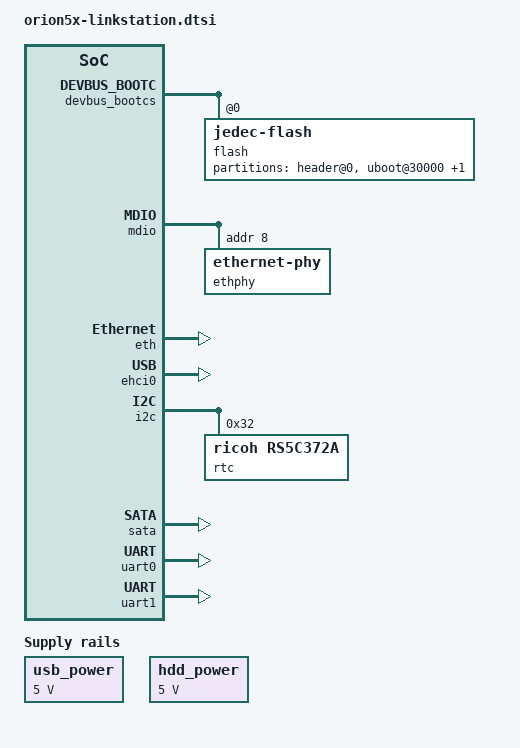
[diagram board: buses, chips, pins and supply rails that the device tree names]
FASTVC-BENCH-CORPUS:linux-main-100k-v1-e0bd41dc-8e12-4f1b-978d-a3645ae59da0
/*
 * Device Tree common file for orion5x based Buffalo Linkstation
 *
 * Copyright (C) 2015, 2016
 * Roger Shimizu <rogershimizu@gmail.com>
 *
 * This file is dual-licensed: you can use it either under the terms
 * of the GPL or the X11 license, at your option. Note that this dual
 * licensing only applies to this file, and not this project as a
 * whole.
 *
 *  a) This file is free software; you can redistribute it and/or
 *     modify it under the terms of the GNU General Public License as
 *     published by the Free Software Foundation; either version 2 of the
 *     License, or (at your option) any later version.
 *
 *     This file is distributed in the hope that it will be useful,
 *     but WITHOUT ANY WARRANTY; without even the implied warranty of
 *     MERCHANTABILITY or FITNESS FOR A PARTICULAR PURPOSE.  See the
 *     GNU General Public License for more details.
 *
 * Or, alternatively,
 *
 *  b) Permission is hereby granted, free of charge, to any person
 *     obtaining a copy of this software and associated documentation
 *     files (the "Software"), to deal in the Software without
 *     restriction, including without limitation the rights to use,
 *     copy, modify, merge, publish, distribute, sublicense, and/or
 *     sell copies of the Software, and to permit persons to whom the
 *     Software is furnished to do so, subject to the following
 *     conditions:
 *
 *     The above copyright notice and this permission notice shall be
 *     included in all copies or substantial portions of the Software.
 *
 *     THE SOFTWARE IS PROVIDED "AS IS", WITHOUT WARRANTY OF ANY KIND,
 *     EXPRESS OR IMPLIED, INCLUDING BUT NOT LIMITED TO THE WARRANTIES
 *     OF MERCHANTABILITY, FITNESS FOR A PARTICULAR PURPOSE AND
 *     NONINFRINGEMENT. IN NO EVENT SHALL THE AUTHORS OR COPYRIGHT
 *     HOLDERS BE LIABLE FOR ANY CLAIM, DAMAGES OR OTHER LIABILITY,
 *     WHETHER IN AN ACTION OF CONTRACT, TORT OR OTHERWISE, ARISING
 *     FROM, OUT OF OR IN CONNECTION WITH THE SOFTWARE OR THE USE OR
 *     OTHER DEALINGS IN THE SOFTWARE.
 */

#include "orion5x-mv88f5182.dtsi"

/ {
	chosen {
		bootargs = "console=ttyS0,115200n8 earlyprintk";
		stdout-path = &uart0;
	};

	soc {
		ranges = <MBUS_ID(0xf0, 0x01) 0 0xf1000000 0x100000>,
				 <MBUS_ID(0x09, 0x00) 0 0xf2200000 0x800>,
				 <MBUS_ID(0x01, 0x0f) 0 0xf4000000 0x40000>;
	};

	restart_poweroff {
		compatible = "restart-poweroff";
	};

	regulators {
		compatible = "simple-bus";
		#address-cells = <1>;
		#size-cells = <0>;
		pinctrl-0 = <&pmx_power_usb &pmx_power_hdd>;
		pinctrl-names = "default";

		usb_power: regulator@1 {
			compatible = "regulator-fixed";
			reg = <1>;
			regulator-name = "USB Power";
			regulator-min-microvolt = <5000000>;
			regulator-max-microvolt = <5000000>;
			enable-active-high;
			regulator-always-on;
			regulator-boot-on;
		};

		hdd_power: regulator@2 {
			compatible = "regulator-fixed";
			reg = <2>;
			regulator-name = "HDD Power";
			regulator-min-microvolt = <5000000>;
			regulator-max-microvolt = <5000000>;
			enable-active-high;
			regulator-always-on;
			regulator-boot-on;
		};
	};
};

&pinctrl {
	pmx_power_hdd: pmx-power-hdd {
		marvell,function = "gpio";
	};

	pmx_power_usb: pmx-power-usb {
		marvell,function = "gpio";
	};
};

&devbus_bootcs {
	status = "okay";
	devbus,keep-config;

	flash@0 {
		compatible = "jedec-flash";
		reg = <0 0x40000>;
		bank-width = <1>;

		partitions {
			compatible = "fixed-partitions";
			#address-cells = <1>;
			#size-cells = <1>;

			header@0 {
				reg = <0 0x30000>;
/* bench 1945.0.0 dc1fd3eb988a */
/* bench 1945.0.1 9c667afd7d54 */
/* bench 1945.0.2 1753f7997d98 */
/* bench 1945.0.3 6f084c504f13 */
/* bench 1945.0.4 4c42ca28068c */
/* bench 1945.0.5 85c816942e0c */
/* bench 1945.0.6 5e66dc369ab9 */
/* bench 1945.0.7 ddd92fe3a864 */
/* bench 1945.0.8 9345c064b9ac */
/* bench 1945.0.9 f46b7f51ff31 */
/* bench 1945.0.10 0d34076e9cf0 */
/* bench 1945.0.11 6d1adcc25052 */
/* bench 1945.0.12 48f5bde37cad */
/* bench 1945.0.13 3d760d8b5b6c */
/* bench 13201.2.0 bf7783c3c2dc */
/* bench 13201.2.1 90ff5487940c */
/* bench 13201.2.2 b56e74459d68 */
/* bench 13201.2.3 6e3af21c5199 */
/* bench 13201.2.4 b1738fa39602 */
/* bench 13201.2.5 f2afec6dda75 */
/* bench 13201.2.6 d1a97f36e5b9 */
/* bench 13201.2.7 dd28504bde7f */
/* bench 13201.2.8 439f077bd60a */
/* bench 1945.0.14 57835d927dbc */
/* bench 1945.0.15 3909d0bd3c51 */
			};

			uboot@30000 {
				reg = <0x30000 0xF000>;
				read-only;
			};

			uboot_env@3F000 {
				reg = <0x3F000 0x1000>;
			};
		};
	};
};

&mdio {
	status = "okay";

	ethphy: ethernet-phy {
		reg = <8>;
	};
};

&eth {
	status = "okay";

	ethernet-port@0 {
		phy-handle = <&ethphy>;
	};
};

&ehci0 {
	status = "okay";
};

&i2c {
	status = "okay";

	rtc@32 {
		compatible = "ricoh,rs5c372a";
		reg = <0x32>;
	};
};

&wdt {
	status = "disabled";
};

&sata {
	status = "okay";
	nr-ports = <1>;
};

&uart0 {
	status = "okay";
};

&uart1 {
	status = "okay";
};
